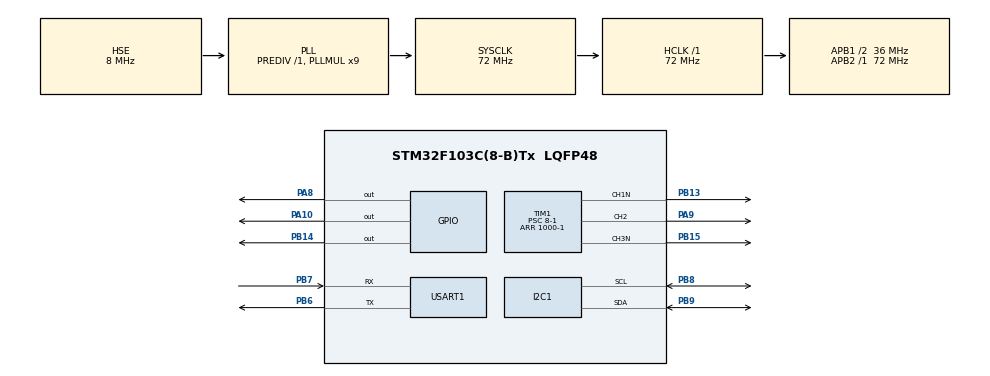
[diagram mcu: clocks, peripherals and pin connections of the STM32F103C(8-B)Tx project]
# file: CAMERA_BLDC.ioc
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Mcu.Family=STM32F1
Mcu.Name=STM32F103C(8-B)Tx
Mcu.Package=LQFP48
NVIC.PriorityGroup=NVIC_PRIORITYGROUP_4
NVIC.TIM2_IRQn=true\:14\:0\:true\:false\:true\:true\:true\:true
NVIC.USART1_IRQn=true\:0\:0\:true\:false\:true\:true\:true\:true
PA0-WKUP.Mode=SYS_WakeUp0
PA0-WKUP.Signal=SYS_WKUP
PA10.Signal=GPIO_Output
PA13.Mode=Serial_Wire
PA13.Signal=SYS_JTMS-SWDIO
PA14.Mode=Serial_Wire
PA14.Signal=SYS_JTCK-SWCLK
PA8.Signal=GPIO_Output
PA9.Signal=S_TIM1_CH2
PB13.Mode=PWM Generation1 CH1N
PB13.Signal=TIM1_CH1N
PB14.Signal=GPIO_Output
PB15.Mode=PWM Generation3 CH3N
PB15.Signal=TIM1_CH3N
PB6.Mode=Asynchronous
PB6.Signal=USART1_TX
PB7.Mode=Asynchronous
PB7.Signal=USART1_RX
PB8.Mode=I2C
PB8.Signal=I2C1_SCL
PB9.Mode=I2C
PB9.Signal=I2C1_SDA
PD0-OSC_IN.Mode=HSE-External-Oscillator
PD0-OSC_IN.Signal=RCC_OSC_IN
PD1-OSC_OUT.Mode=HSE-External-Oscillator
PD1-OSC_OUT.Signal=RCC_OSC_OUT
ProjectManager.HeapSize=0x200
ProjectManager.StackSize=0x400
ProjectManager.TargetToolchain=STM32CubeIDE
RCC.AHBFreq_Value=72000000
RCC.APB1CLKDivider=RCC_HCLK_DIV2
RCC.APB1Freq_Value=36000000
RCC.APB1TimFreq_Value=72000000
RCC.APB2Freq_Value=72000000
RCC.APB2TimFreq_Value=72000000
RCC.HCLKFreq_Value=72000000
RCC.PLLMUL=RCC_PLL_MUL9
RCC.PLLSourceVirtual=RCC_PLLSOURCE_HSE
RCC.SYSCLKFreq_VALUE=72000000
RCC.SYSCLKSource=RCC_SYSCLKSOURCE_PLLCLK
RCC.USBFreq_Value=72000000
SH.S_TIM1_CH2.0=TIM1_CH2,PWM Generation2 CH2
TIM1.Channel-PWM\ Generation1\ CH1N=TIM_CHANNEL_1
TIM1.Channel-PWM\ Generation2\ CH2=TIM_CHANNEL_2
TIM1.Channel-PWM\ Generation3\ CH3N=TIM_CHANNEL_3
TIM1.Period=1000-1
TIM1.Prescaler=8-1
TIM1.Pulse-PWM\ Generation1\ CH1N=500
TIM1.Pulse-PWM\ Generation2\ CH2=400
TIM1.Pulse-PWM\ Generation3\ CH3N=250
TIM2.Period=1000-1
TIM2.Prescaler=240-1
USART1.VirtualMode=VM_ASYNC
VP_TIM2_VS_ClockSourceINT.Mode=Internal
board=custom

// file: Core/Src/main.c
/* USER CODE BEGIN Header */
/**
  ******************************************************************************
  * @file           : main.c
  * @brief          : Main program body
  ******************************************************************************
  * @attention
  *
  * Copyright (c) 2022 STMicroelectronics.
  * All rights reserved.
  *
  * This software is licensed under terms that can be found in the LICENSE file
  * in the root directory of this software component.
  * If no LICENSE file comes with this software, it is provided AS-IS.
  *
  ******************************************************************************
  */
/* USER CODE END Header */
#include "main.h"

/* USER CODE BEGIN Includes */
#include "string.h"
#include "stdio.h"
#include "bldc_driver.h"
/* USER CODE END Includes */

/* USER CODE BEGIN PTD */
#define _PWM_RESOLUTION 7 // 7bit
#define _PWM_RANGE 999//1000 - 1 = 999
float target;
int count = 0;
int times = 0;
uint8_t UART1_rxBuffer;
uint8_t rx_data;
uint8_t data;
int flag = -1;
/* USER CODE END PTD */

I2C_HandleTypeDef hi2c1;

TIM_HandleTypeDef htim1;
TIM_HandleTypeDef htim2;

UART_HandleTypeDef huart1;

void SystemClock_Config(void);
static void MX_GPIO_Init(void);
static void MX_I2C1_Init(void);
static void MX_USART1_UART_Init(void);
static void MX_TIM1_Init(void);
static void MX_TIM2_Init(void);

/* USER CODE BEGIN 0 */
void HAL_TIM_PeriodElapsedCallback(TIM_HandleTypeDef *htim)
{
  if(htim->Instance == TIM2)
  {
	  //6 STEP: Discrete Mode:
//	  if(count == 6) count = 0;
//	  static int trap_120_map[6][3] = {
//		{0,1,-1},{-1,1,0},{-1,0,1},{0,-1,1},{1,-1,0},{1,0,-1} // each is 60 degrees with values for 3 phases of 1=positive -1=negative 0=high-z
//	  };
//	  float Ua, Ub, Uc;
//	  Ua = 0.5 + trap_120_map[count][0] * 0.5;
//	  Ub = 0.5 + trap_120_map[count][1] * 0.5;
//	  Uc = 0.5 + trap_120_map[count][2] * 0.5;
//	  _writeDutyCyclePWM(Ua, Ub, Uc);
//	  count++;

	  // SINE PWM:

//	  if ((recv = HAL_I2C_Mem_Read(&hi2c1,(AS5600_ADDR),RAWANG_H,1,&DataRead[0],1,100)) == HAL_OK)
//	  {
//		  if ((recv = HAL_I2C_Mem_Read(&hi2c1,(AS5600_ADDR),RAWANG_L,1,&DataRead[1],1,100)) == HAL_OK){
//			  int Data = (DataRead[1]|(DataRead[0] << 8));
//			  if(Data - 1900 > 0){
//				  if(times<192*100 && flag == 1){
//					  float _ca, _sa, Ualpha, Ubeta;
//					  float Ua, Ub, Uc;
//					  if(count == 24) count = 0;
//
//					  float angle_el = _PI_96*count;
//					  _ca = _cos(angle_el);
//					  _sa = _sin(angle_el);
//					  Ualpha =  - _sa*0.5;
//					  Ubeta  =    _ca*0.5;
//
//					  Ua = Ualpha/2 + 0.5;
//					  Ub = (-0.5 * Ualpha  + _SQRT3_2 * Ubeta)/2+0.5;
//					  Uc = (-0.5 * Ualpha - _SQRT3_2 * Ubeta)/2+0.5;
//					  _writeDutyCyclePWM(Ua, Ub, Uc);
//					  count++;
//					  times++;
//				  }
//			  }
//		  }
//	  }

	  if(flag == 0){
		  float _ca, _sa, Ualpha, Ubeta;
		  float Ua, Ub, Uc;
		  if(count == 192) count = 0;

		  float angle_el = _PI_96*count;
		  _ca = _cos(angle_el);
		  _sa = _sin(angle_el);
		  Ualpha =  - _sa*0.5;
		  Ubeta  =    _ca*0.5;

		  Ua = Ualpha/2 + 0.5;
		  Ub = (-0.5 * Ualpha  + _SQRT3_2 * Ubeta)/2+0.5;
		  Uc = (-0.5 * Ualpha - _SQRT3_2 * Ubeta)/2+0.5;
		  _writeDutyCyclePWM(Ua, Ub, Uc);
		  count++;
	  }
	  if(flag == 1){
		  float _ca, _sa, Ualpha, Ubeta;
		  float Ua, Ub, Uc;
		  if(count == 192) count = 0;

		  float angle_el = -_PI_96*count;
		  _ca = _cos(angle_el);
		  _sa = _sin(angle_el);
		  Ualpha =  - _sa*0.5;
		  Ubeta  =    _ca*0.5;

		  Ua = Ualpha/2 + 0.5;
		  Ub = (-0.5 * Ualpha  + _SQRT3_2 * Ubeta)/2+0.5;
		  Uc = (-0.5 * Ualpha - _SQRT3_2 * Ubeta)/2+0.5;
		  _writeDutyCyclePWM(Ua, Ub, Uc);
		  count++;
	  }
	  if(flag == 2){
		  float _ca, _sa, Ualpha, Ubeta;
		  float Ua, Ub, Uc;
		  if(count == 192) count = 0;

		  float angle_el = _PI_96*count;
		  _ca = _cos(angle_el);
		  _sa = _sin(angle_el);
		  Ualpha =  - _sa*0.5;
		  Ubeta  =    _ca*0.5;

		  Ua = Ualpha/2 + 0.5;
		  Ub = (-0.5 * Ualpha  + _SQRT3_2 * Ubeta)/2+0.5;
		  Uc = (-0.5 * Ualpha - _SQRT3_2 * Ubeta)/2+0.5;
		  _writeDutyCyclePWM(Uc, Ub, Ua);
		  count++;
	  }

  }
}

void _writeDutyCyclePWM(float dc_a, float dc_b, float dc_c)
{
	 TIM1->CCR1 = (int)(dc_a * _PWM_RANGE);
	 TIM1->CCR3 = (int)(dc_b * _PWM_RANGE);
	 TIM1->CCR2 = (int)(dc_c * _PWM_RANGE);
}
void HAL_UART_RxCpltCallback(UART_HandleTypeDef *huart)
{
	if (huart->Instance == USART1) {
        // 데이터 1개를 수신하면 인터럽트를 발생시킨다.
//		HAL_UART_Receive_IT(&huart1, &rx_data, 1);
//		if(rx_data==49){
	        // 받은 데이터를 전송한다.
//			HAL_UART_Transmit(&huart1, &rx_data, 1, 10);

			if(flag == -1)
			{
				flag = 0;
				HAL_UART_Transmit(&huart1, &rx_data, 1, 10);

			}
			else if(flag == 0){
				flag = 2;
				HAL_UART_Transmit(&huart1, &rx_data, 1, 10);
			}
			else if(flag == 2)
			{
				flag = -1;
				HAL_UART_Transmit(&huart1, &rx_data, 1, 10);
			}
			HAL_UART_Receive_IT(&huart1, &rx_data, 1);
//		}

//			HAL_UART_Receive_IT(&huart1, UART1_rxBuffer, 1);
	}

//    if(UART1_rxBuffer == 'a')
//    {
//    	HAL_UART_Transmit(&huart1, UART1_rxBuffer, 12, 100);
//    }
//    HAL_UART_Transmit(&huart1, "123\r\n",sizeof("123\r\n"), 10);
//    HAL_UART_Receive_IT(&huart1, UART1_rxBuffer, 1);
}

/* USER CODE END 0 */

int main(void)
{

  /* MCU Configuration--------------------------------------------------------*/

  /* Reset of all peripherals, Initializes the Flash interface and the Systick. */
  HAL_Init();

  /* Configure the system clock */
  SystemClock_Config();

  /* Initialize all configured peripherals */
  MX_GPIO_Init();
  MX_I2C1_Init();
  MX_USART1_UART_Init();
  MX_TIM1_Init();
  MX_TIM2_Init();
  /* USER CODE BEGIN 2 */

  HAL_UART_Receive_IT (&huart1, &rx_data, 1);
  HAL_TIM_Base_Start_IT(&htim2);

  HAL_TIMEx_PWMN_Start(&htim1, TIM_CHANNEL_1);
  HAL_TIM_PWM_Start(&htim1, 	TIM_CHANNEL_2);
  HAL_TIMEx_PWMN_Start(&htim1, TIM_CHANNEL_3);

  HAL_GPIO_WritePin(GPIOB, GPIO_PIN_14, GPIO_PIN_SET);
  HAL_GPIO_WritePin(GPIOA, GPIO_PIN_8, GPIO_PIN_SET);
  HAL_GPIO_WritePin(GPIOA, GPIO_PIN_10, GPIO_PIN_SET);
  /* USER CODE END 2 */

  /* Infinite loop */
  /* USER CODE BEGIN WHILE */
  while (1)
  {
//	  uint8_t data;
    /* USER CODE END WHILE */

  }
}

void SystemClock_Config(void)
{
  RCC_OscInitTypeDef RCC_OscInitStruct = {0};
  RCC_ClkInitTypeDef RCC_ClkInitStruct = {0};

  /** Initializes the RCC Oscillators according to the specified parameters
  * in the RCC_OscInitTypeDef structure.
  */
  RCC_OscInitStruct.OscillatorType = RCC_OSCILLATORTYPE_HSE;
  RCC_OscInitStruct.HSEState = RCC_HSE_ON;
  RCC_OscInitStruct.HSEPredivValue = RCC_HSE_PREDIV_DIV1;
  RCC_OscInitStruct.HSIState = RCC_HSI_ON;
  RCC_OscInitStruct.PLL.PLLState = RCC_PLL_ON;
  RCC_OscInitStruct.PLL.PLLSource = RCC_PLLSOURCE_HSE;
  RCC_OscInitStruct.PLL.PLLMUL = RCC_PLL_MUL9;
  if (HAL_RCC_OscConfig(&RCC_OscInitStruct) != HAL_OK)
  {
    Error_Handler();
  }

  /** Initializes the CPU, AHB and APB buses clocks
  */
  RCC_ClkInitStruct.ClockType = RCC_CLOCKTYPE_HCLK|RCC_CLOCKTYPE_SYSCLK
                              |RCC_CLOCKTYPE_PCLK1|RCC_CLOCKTYPE_PCLK2;
  RCC_ClkInitStruct.SYSCLKSource = RCC_SYSCLKSOURCE_PLLCLK;
  RCC_ClkInitStruct.AHBCLKDivider = RCC_SYSCLK_DIV1;
  RCC_ClkInitStruct.APB1CLKDivider = RCC_HCLK_DIV2;
  RCC_ClkInitStruct.APB2CLKDivider = RCC_HCLK_DIV1;

  if (HAL_RCC_ClockConfig(&RCC_ClkInitStruct, FLASH_LATENCY_2) != HAL_OK)
  {
    Error_Handler();
  }
}

static void MX_I2C1_Init(void)
{

  hi2c1.Instance = I2C1;
  hi2c1.Init.ClockSpeed = 100000;
  hi2c1.Init.DutyCycle = I2C_DUTYCYCLE_2;
  hi2c1.Init.OwnAddress1 = 0;
  hi2c1.Init.AddressingMode = I2C_ADDRESSINGMODE_7BIT;
  hi2c1.Init.DualAddressMode = I2C_DUALADDRESS_DISABLE;
  hi2c1.Init.OwnAddress2 = 0;
  hi2c1.Init.GeneralCallMode = I2C_GENERALCALL_DISABLE;
  hi2c1.Init.NoStretchMode = I2C_NOSTRETCH_DISABLE;
  if (HAL_I2C_Init(&hi2c1) != HAL_OK)
  {
    Error_Handler();
  }

}

static void MX_TIM1_Init(void)
{

  TIM_MasterConfigTypeDef sMasterConfig = {0};
  TIM_OC_InitTypeDef sConfigOC = {0};
  TIM_BreakDeadTimeConfigTypeDef sBreakDeadTimeConfig = {0};

  htim1.Instance = TIM1;
  htim1.Init.Prescaler = 8-1;
  htim1.Init.CounterMode = TIM_COUNTERMODE_UP;
  htim1.Init.Period = 1000-1;
  htim1.Init.ClockDivision = TIM_CLOCKDIVISION_DIV1;
  htim1.Init.RepetitionCounter = 0;
  htim1.Init.AutoReloadPreload = TIM_AUTORELOAD_PRELOAD_DISABLE;
  if (HAL_TIM_PWM_Init(&htim1) != HAL_OK)
  {
    Error_Handler();
  }
  sMasterConfig.MasterOutputTrigger = TIM_TRGO_RESET;
  sMasterConfig.MasterSlaveMode = TIM_MASTERSLAVEMODE_DISABLE;
  if (HAL_TIMEx_MasterConfigSynchronization(&htim1, &sMasterConfig) != HAL_OK)
  {
    Error_Handler();
  }
  sConfigOC.OCMode = TIM_OCMODE_PWM1;
  sConfigOC.Pulse = 500;
  sConfigOC.OCPolarity = TIM_OCPOLARITY_HIGH;
  sConfigOC.OCNPolarity = TIM_OCNPOLARITY_HIGH;
  sConfigOC.OCFastMode = TIM_OCFAST_DISABLE;
  sConfigOC.OCIdleState = TIM_OCIDLESTATE_RESET;
  sConfigOC.OCNIdleState = TIM_OCNIDLESTATE_RESET;
  if (HAL_TIM_PWM_ConfigChannel(&htim1, &sConfigOC, TIM_CHANNEL_1) != HAL_OK)
  {
    Error_Handler();
  }
  sConfigOC.Pulse = 400;
  if (HAL_TIM_PWM_ConfigChannel(&htim1, &sConfigOC, TIM_CHANNEL_2) != HAL_OK)
  {
    Error_Handler();
  }
  sConfigOC.Pulse = 250;
  if (HAL_TIM_PWM_ConfigChannel(&htim1, &sConfigOC, TIM_CHANNEL_3) != HAL_OK)
  {
    Error_Handler();
  }
  sBreakDeadTimeConfig.OffStateRunMode = TIM_OSSR_DISABLE;
  sBreakDeadTimeConfig.OffStateIDLEMode = TIM_OSSI_DISABLE;
  sBreakDeadTimeConfig.LockLevel = TIM_LOCKLEVEL_OFF;
  sBreakDeadTimeConfig.DeadTime = 0;
  sBreakDeadTimeConfig.BreakState = TIM_BREAK_DISABLE;
  sBreakDeadTimeConfig.BreakPolarity = TIM_BREAKPOLARITY_HIGH;
  sBreakDeadTimeConfig.AutomaticOutput = TIM_AUTOMATICOUTPUT_DISABLE;
  if (HAL_TIMEx_ConfigBreakDeadTime(&htim1, &sBreakDeadTimeConfig) != HAL_OK)
  {
    Error_Handler();
  }
  HAL_TIM_MspPostInit(&htim1);

}

static void MX_TIM2_Init(void)
{

  TIM_ClockConfigTypeDef sClockSourceConfig = {0};
  TIM_MasterConfigTypeDef sMasterConfig = {0};

  htim2.Instance = TIM2;
  htim2.Init.Prescaler = 240-1;
  htim2.Init.CounterMode = TIM_COUNTERMODE_UP;
  htim2.Init.Period = 1000-1;
  htim2.Init.ClockDivision = TIM_CLOCKDIVISION_DIV1;
  htim2.Init.AutoReloadPreload = TIM_AUTORELOAD_PRELOAD_DISABLE;
  if (HAL_TIM_Base_Init(&htim2) != HAL_OK)
  {
    Error_Handler();
  }
  sClockSourceConfig.ClockSource = TIM_CLOCKSOURCE_INTERNAL;
  if (HAL_TIM_ConfigClockSource(&htim2, &sClockSourceConfig) != HAL_OK)
  {
    Error_Handler();
  }
  sMasterConfig.MasterOutputTrigger = TIM_TRGO_RESET;
  sMasterConfig.MasterSlaveMode = TIM_MASTERSLAVEMODE_DISABLE;
  if (HAL_TIMEx_MasterConfigSynchronization(&htim2, &sMasterConfig) != HAL_OK)
  {
    Error_Handler();
  }

}

static void MX_USART1_UART_Init(void)
{

  huart1.Instance = USART1;
  huart1.Init.BaudRate = 115200;
  huart1.Init.WordLength = UART_WORDLENGTH_8B;
  huart1.Init.StopBits = UART_STOPBITS_1;
  huart1.Init.Parity = UART_PARITY_NONE;
  huart1.Init.Mode = UART_MODE_TX_RX;
  huart1.Init.HwFlowCtl = UART_HWCONTROL_NONE;
  huart1.Init.OverSampling = UART_OVERSAMPLING_16;
  if (HAL_UART_Init(&huart1) != HAL_OK)
  {
    Error_Handler();
  }

}

static void MX_GPIO_Init(void)
{
  GPIO_InitTypeDef GPIO_InitStruct = {0};

  /* GPIO Ports Clock Enable */
  __HAL_RCC_GPIOD_CLK_ENABLE();
  __HAL_RCC_GPIOA_CLK_ENABLE();
  __HAL_RCC_GPIOB_CLK_ENABLE();

  /*Configure GPIO pin Output Level */
  HAL_GPIO_WritePin(GPIOB, GPIO_PIN_14, GPIO_PIN_RESET);

  /*Configure GPIO pin Output Level */
  HAL_GPIO_WritePin(GPIOA, GPIO_PIN_8|GPIO_PIN_10, GPIO_PIN_RESET);

  /*Configure GPIO pin : PB14 */
  GPIO_InitStruct.Pin = GPIO_PIN_14;
  GPIO_InitStruct.Mode = GPIO_MODE_OUTPUT_PP;
  GPIO_InitStruct.Pull = GPIO_NOPULL;
  GPIO_InitStruct.Speed = GPIO_SPEED_FREQ_LOW;
  HAL_GPIO_Init(GPIOB, &GPIO_InitStruct);

  /*Configure GPIO pins : PA8 PA10 */
  GPIO_InitStruct.Pin = GPIO_PIN_8|GPIO_PIN_10;
  GPIO_InitStruct.Mode = GPIO_MODE_OUTPUT_PP;
  GPIO_InitStruct.Pull = GPIO_NOPULL;
  GPIO_InitStruct.Speed = GPIO_SPEED_FREQ_LOW;
  HAL_GPIO_Init(GPIOA, &GPIO_InitStruct);

}

void Error_Handler(void)
{
  __disable_irq();
  while (1)
  {
  }
}
